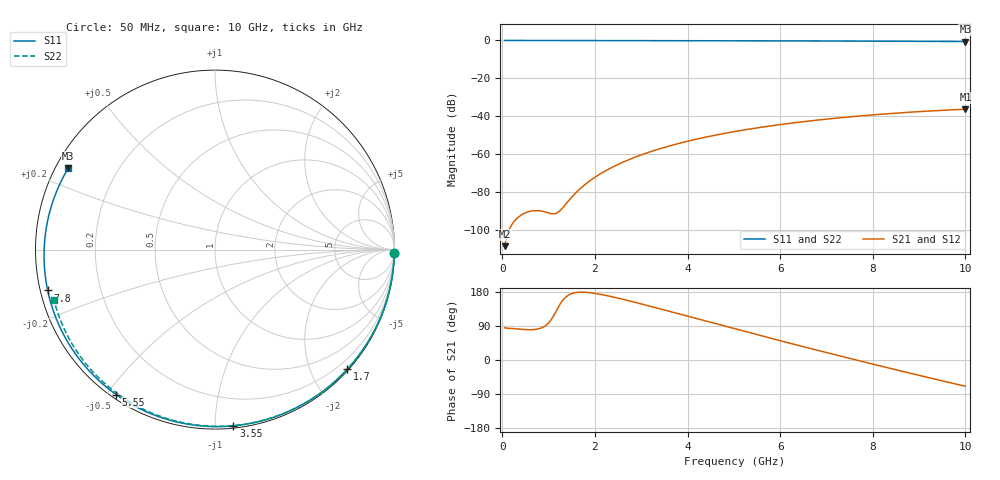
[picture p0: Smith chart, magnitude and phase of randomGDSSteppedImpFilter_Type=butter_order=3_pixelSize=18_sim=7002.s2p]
! freq	dB(S11)	phase(S11)	dB(S12)	phase(S12)
!  dB(S21)	phase(S21)	dB(S22)	phase(S22)
!S-par simulation data
#  GHz  S  DB  R 50
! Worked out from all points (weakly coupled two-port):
!   200 points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, 50 MHz to 10 GHz, reference 50 ohm
!   highest |S21| = -36.24 dB at 10 GHz (marker M1); lowest = -108.4 dB at 50 MHz (marker M2)
!   lowest |S11| = -0.6 dB at 10 GHz (marker M3), VSWR 29.79, Z = 1.79 + j12.9 ohm
!   |S11| at or under -10 dB: nowhere
!   |S22| runs from -0.5 to 0.0 dB; largest |S21 - S12| = 0
!   S11 on the Smith chart (normalised r, x): 50 MHz: 3, -94; 1.7 GHz: 0.02, -2.60; 3.55 GHz: 0.01, -1.11; 5.55 GHz: 0.01, -0.53; 7.8 GHz: 0.02, -0.12; 10 GHz: 0.04, +0.26
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0.05  -0.01 -1.2  -108.42 85.0  -108.42 85.0  -0.00 -0.9
0.45  -0.02 -11.3  -91.43 80.6  -91.43 80.6  -0.01 -8.5
0.8  -0.03 -20.1  -89.76 82.8  -89.76 82.8  -0.02 -15.1
1.2  -0.04 -30.0  -90.63 137.2  -90.63 137.2  -0.03 -22.6
1.6  -0.05 -39.7  -80.00 178.1  -80.00 178.1  -0.04 -30.0
1.7  -0.05 -42.1  -77.72 179.0  -77.72 179.0  -0.04 -31.9
1.75  -0.05 -43.3  -76.66 178.9  -76.66 178.9  -0.04 -32.8
2.05  -0.06 -50.4  -71.32 174.8  -71.32 174.8  -0.05 -38.3
2.45  -0.08 -59.7  -65.91 164.7  -65.91 164.7  -0.06 -45.5
2.9  -0.09 -69.8  -61.22 151.2  -61.22 151.2  -0.07 -53.4
3.4  -0.10 -80.8  -57.09 135.2  -57.09 135.2  -0.08 -62.1
3.55  -0.11 -84.0  -56.01 130.3  -56.01 130.3  -0.09 -64.6
4.3  -0.14 -99.7  -51.44 105.8  -51.44 105.8  -0.11 -77.2
5.05  -0.17 -114.7  -47.88 81.3  -47.88 81.3  -0.14 -89.2
5.55  -0.20 -124.3  -45.90 65.2  -45.90 65.2  -0.16 -97.1
6.15  -0.23 -135.7  -43.86 46.2  -43.86 46.2  -0.19 -106.3
6.7  -0.27 -145.9  -42.25 28.9  -42.25 28.9  -0.22 -114.5
7.25  -0.31 -156.1  -40.85 11.9  -40.85 11.9  -0.26 -122.6
7.8  -0.36 -166.3  -39.63 -4.8  -39.63 -4.8  -0.30 -130.6
8.35  -0.41 -176.6  -38.57 -21.3  -38.57 -21.3  -0.35 -138.6
9.2  -0.50 167.1  -37.22 -46.4  -37.22 -46.4  -0.44 -150.9
10  -0.58 151.0  -36.24 -69.4  -36.24 -69.4  -0.54 -162.7
